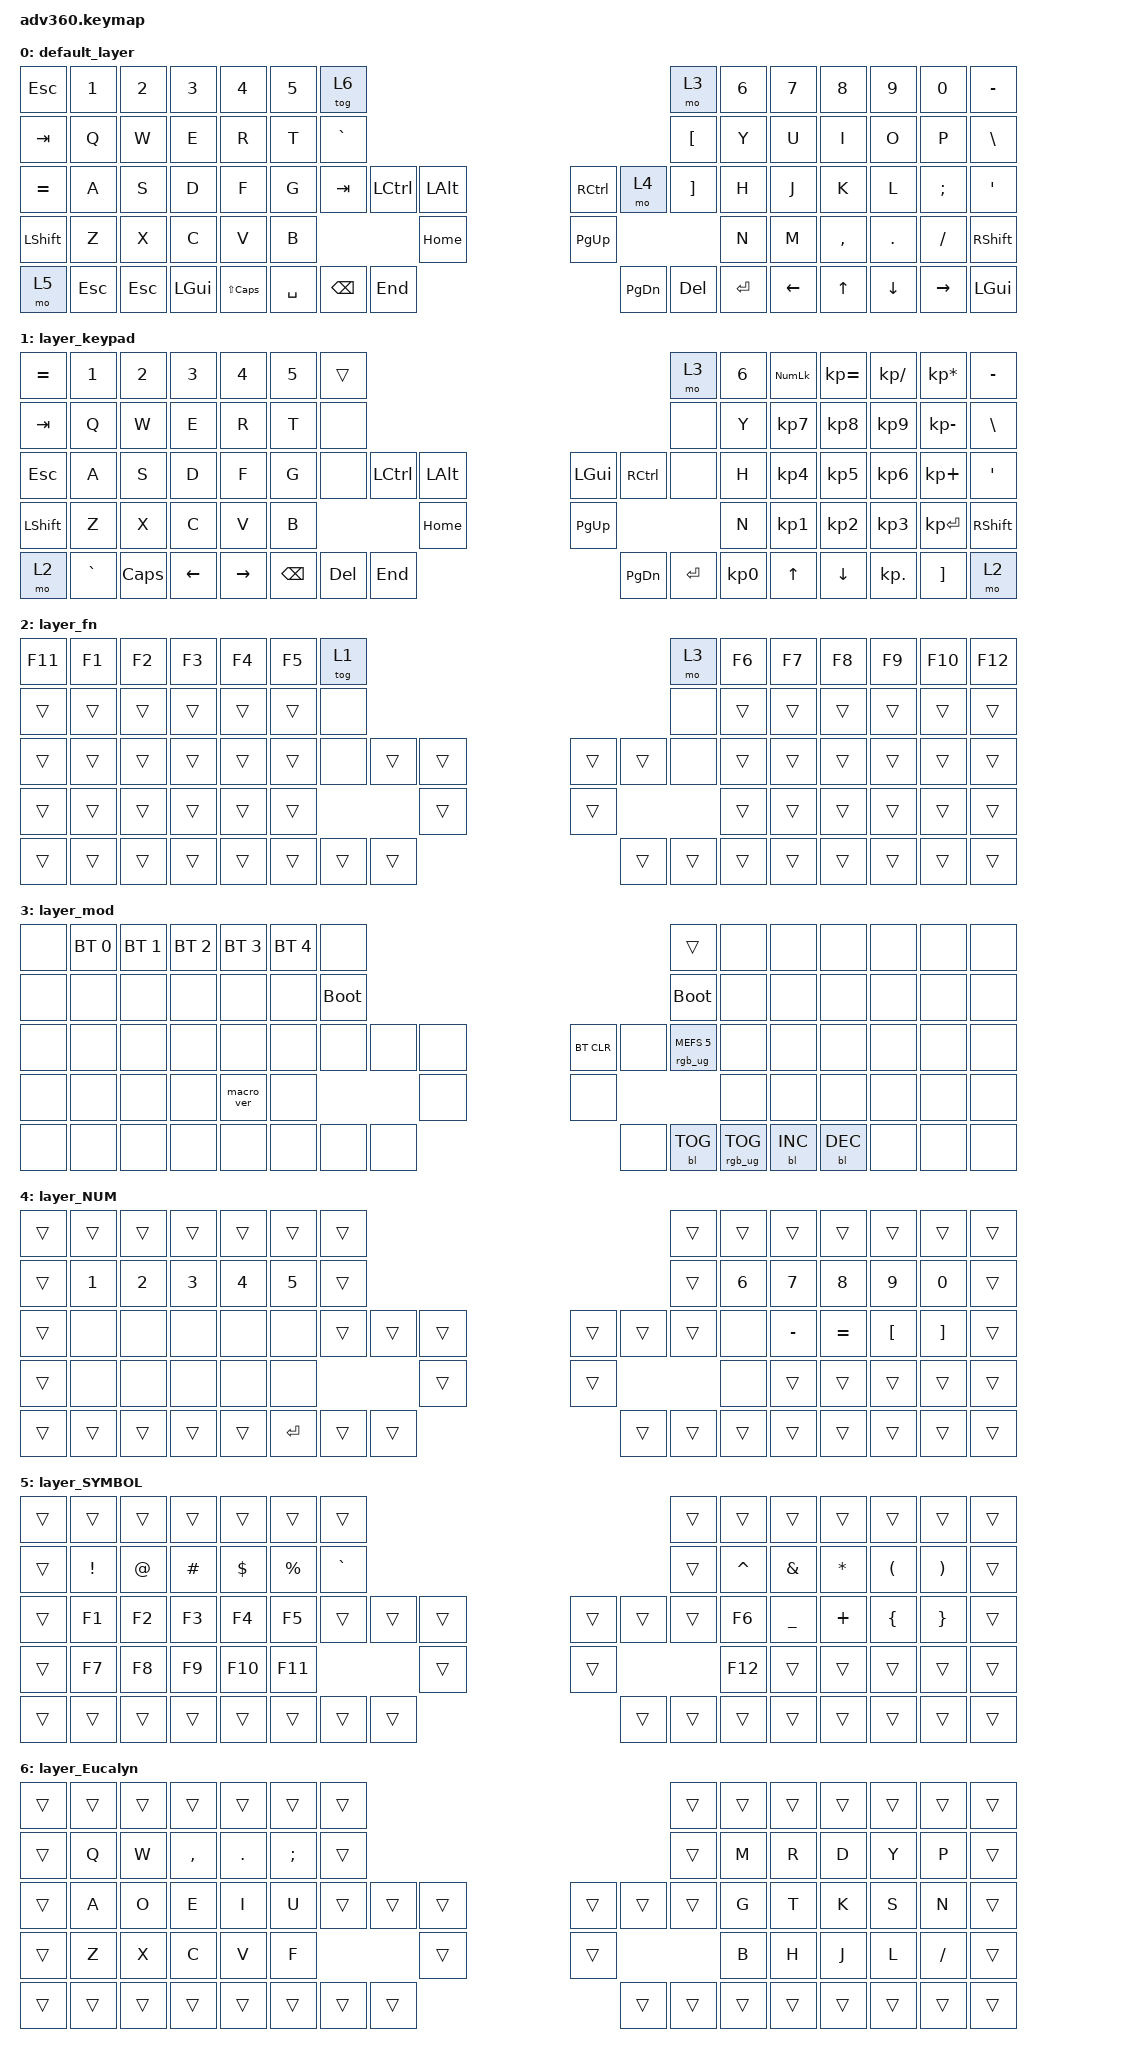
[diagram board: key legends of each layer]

/*
 * Copyright (c) 2020 The ZMK Contributors
 *
 * SPDX-License-Identifier: MIT
 */


/* THIS FILE WAS GENERATED!
 *
 * This file was generated automatically. You may or may not want to
 * edit it directly.
 */

#include <behaviors.dtsi>
#include <dt-bindings/zmk/keys.h>
#include <dt-bindings/zmk/bt.h>
#include <dt-bindings/zmk/rgb.h>
#include <dt-bindings/zmk/backlight.h>

/ {
  behaviors {
    #include "macros.dtsi"
    #include "version.dtsi"

    hm: homerow_mods {
        compatible = "zmk,behavior-hold-tap";
        label = "HOMEROW_MODS";
        #binding-cells = <2>;
        tapping-term-ms = <200>;
        quick_tap_ms = <175>;
        flavor = "tap-preferred";
        bindings = <&kp>, <&kp>;
    };
  };

    keymap {
        compatible = "zmk,keymap";


        default_layer {
            bindings = <
   &kp ESC   &kp N1   &kp N2    &kp N3        &kp N4  &kp N5               &tog 6                                                               &mo 3  &kp N6          &kp N7        &kp N8          &kp N9           &kp N0  &kp MINUS
   &kp TAB    &kp Q    &kp W     &kp E         &kp R   &kp T            &kp GRAVE                                                            &kp LBKT   &kp Y           &kp U         &kp I           &kp O            &kp P   &kp BSLH
 &kp EQUAL    &kp A    &kp S     &kp D         &kp F   &kp G              &kp TAB  &kp LCTRL  &kp LALT                  &kp RCTRL    &mo 4   &kp RBKT   &kp H           &kp J         &kp K           &kp L         &kp SEMI    &kp SQT
 &kp LSHFT    &kp Z    &kp X     &kp C         &kp V   &kp B                                  &kp HOME                  &kp PG_UP                       &kp N           &kp M     &kp COMMA         &kp DOT         &kp FSLH  &kp RSHFT
     &mo 5  &kp ESC  &kp ESC  &kp LGUI  &kp LS(CAPS)                    &kp SPACE   &kp BSPC   &kp END                  &kp PG_DN  &kp DEL  &kp ENTER          &kp LEFT_ARROW  &kp UP_ARROW  &kp DOWN_ARROW  &kp RIGHT_ARROW   &kp LGUI
            >;
        };

        layer_keypad {
            bindings = <
 &kp EQUAL     &kp N1    &kp N2    &kp N3     &kp N4  &kp N5              &trans                                                                 &mo 3  &kp N6  &kp KP_NUM  &kp KP_EQUAL  &kp KP_DIVIDE  &kp KP_MULTIPLY  &kp MINUS
   &kp TAB      &kp Q     &kp W     &kp E      &kp R   &kp T               &none                                                                 &none   &kp Y   &kp KP_N7     &kp KP_N8      &kp KP_N9     &kp KP_MINUS   &kp BSLH
   &kp ESC      &kp A     &kp S     &kp D      &kp F   &kp G               &none  &kp LCTRL  &kp LALT                   &kp LGUI  &kp RCTRL      &none   &kp H   &kp KP_N4     &kp KP_N5      &kp KP_N6      &kp KP_PLUS    &kp SQT
 &kp LSHFT      &kp Z     &kp X     &kp C      &kp V   &kp B                                 &kp HOME                  &kp PG_UP                         &kp N   &kp KP_N1     &kp KP_N2      &kp KP_N3     &kp KP_ENTER  &kp RSHFT
     &mo 2  &kp GRAVE  &kp CAPS  &kp LEFT  &kp RIGHT                    &kp BSPC    &kp DEL   &kp END                  &kp PG_DN  &kp ENTER  &kp KP_N0              &kp UP      &kp DOWN     &kp KP_DOT         &kp RBKT      &mo 2
            >;
        };

        layer_fn {
            bindings = <
 &kp F11  &kp F1  &kp F2  &kp F3  &kp F4  &kp F5            &tog 1                                                   &mo 3  &kp F6  &kp F7  &kp F8  &kp F9  &kp F10  &kp F12
  &trans  &trans  &trans  &trans  &trans  &trans             &none                                                   &none  &trans  &trans  &trans  &trans   &trans   &trans
  &trans  &trans  &trans  &trans  &trans  &trans             &none  &trans  &trans                  &trans  &trans   &none  &trans  &trans  &trans  &trans   &trans   &trans
  &trans  &trans  &trans  &trans  &trans  &trans                            &trans                  &trans                  &trans  &trans  &trans  &trans   &trans   &trans
  &trans  &trans  &trans  &trans  &trans                    &trans  &trans  &trans                  &trans  &trans  &trans          &trans  &trans  &trans   &trans   &trans
            >;
        };

        layer_mod {
            bindings = <
  &none  &bt BT_SEL 0  &bt BT_SEL 1  &bt BT_SEL 2  &bt BT_SEL 3  &bt BT_SEL 4                  &none                                                                          &trans   &none       &none       &none   &none   &none   &none
  &none         &none         &none         &none         &none         &none            &bootloader                                                                     &bootloader   &none       &none       &none   &none   &none   &none
  &none         &none         &none         &none         &none         &none                  &none   &none   &none                  &bt BT_CLR       &none  &rgb_ug RGB_MEFS_CMD 5   &none       &none       &none   &none   &none   &none
  &none         &none         &none         &none    &macro_ver         &none                                  &none                       &none                                       &none       &none       &none   &none   &none   &none
  &none         &none         &none         &none         &none                                &none   &none   &none                       &none  &bl BL_TOG         &rgb_ug RGB_TOG          &bl BL_INC  &bl BL_DEC   &none   &none   &none
            >;
        };

        layer_NUM {
            bindings = <
 &trans  &trans  &trans  &trans  &trans  &trans               &trans                                                  &trans  &trans     &trans     &trans            &trans             &trans  &trans
 &trans  &kp N1  &kp N2  &kp N3  &kp N4  &kp N5               &trans                                                  &trans  &kp N6     &kp N7     &kp N8            &kp N9             &kp N0  &trans
 &trans   &none   &none   &none   &none   &none               &trans  &trans  &trans                  &trans  &trans  &trans   &none  &kp MINUS  &kp EQUAL  &kp LEFT_BRACKET  &kp RIGHT_BRACKET  &trans
 &trans   &none   &none   &none   &none   &none                               &trans                  &trans                   &none     &trans     &trans            &trans             &trans  &trans
 &trans  &trans  &trans  &trans  &trans                    &kp ENTER  &trans  &trans                  &trans  &trans  &trans             &trans     &trans            &trans             &trans  &trans
            >;
        };

        layer_SYMBOL {
            bindings = <
 &trans    &trans  &trans    &trans    &trans     &trans               &trans                                                  &trans     &trans     &trans     &trans          &trans           &trans  &trans
 &trans  &kp EXCL  &kp AT  &kp HASH  &kp DLLR  &kp PRCNT            &kp GRAVE                                                  &trans  &kp CARET   &kp AMPS  &kp ASTRK        &kp LPAR         &kp RPAR  &trans
 &trans    &kp F1  &kp F2    &kp F3    &kp F4     &kp F5               &trans  &trans  &trans                  &trans  &trans  &trans     &kp F6  &kp UNDER   &kp PLUS  &kp LEFT_BRACE  &kp RIGHT_BRACE  &trans
 &trans    &kp F7  &kp F8    &kp F9   &kp F10    &kp F11                               &trans                  &trans                    &kp F12     &trans     &trans          &trans           &trans  &trans
 &trans    &trans  &trans    &trans    &trans                          &trans  &trans  &trans                  &trans  &trans  &trans                &trans     &trans          &trans           &trans  &trans
            >;
        };

        layer_Eucalyn {
            bindings = <
 &trans  &trans  &trans     &trans   &trans    &trans            &trans                                                  &trans  &trans  &trans  &trans  &trans    &trans  &trans
 &trans   &kp Q   &kp W  &kp COMMA  &kp DOT  &kp SEMI            &trans                                                  &trans   &kp M   &kp R   &kp D   &kp Y     &kp P  &trans
 &trans   &kp A   &kp O      &kp E    &kp I     &kp U            &trans  &trans  &trans                  &trans  &trans  &trans   &kp G   &kp T   &kp K   &kp S     &kp N  &trans
 &trans   &kp Z   &kp X      &kp C    &kp V     &kp F                            &trans                  &trans                   &kp B   &kp H   &kp J   &kp L  &kp FSLH  &trans
 &trans  &trans  &trans     &trans   &trans                      &trans  &trans  &trans                  &trans  &trans  &trans          &trans  &trans  &trans    &trans  &trans
            >;
        };

    };
};
